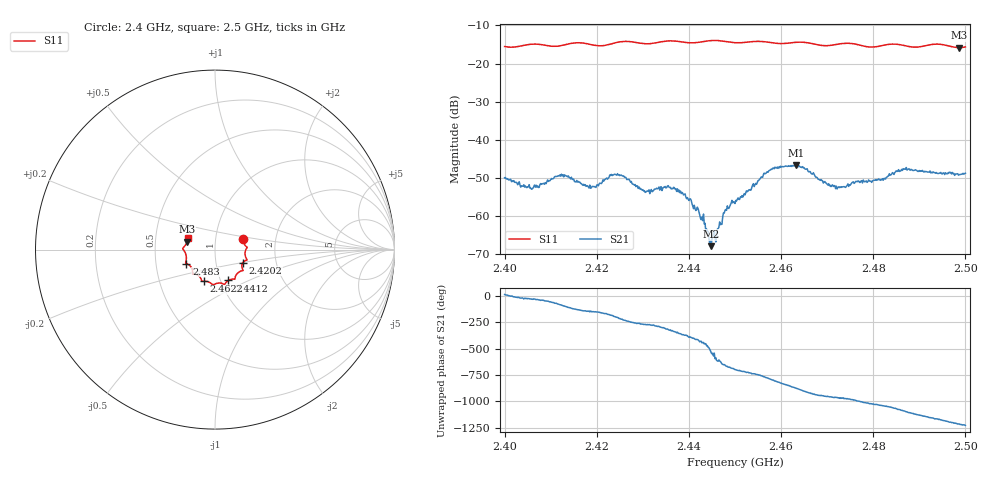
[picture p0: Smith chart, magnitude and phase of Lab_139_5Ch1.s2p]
# Hz S RI R 50
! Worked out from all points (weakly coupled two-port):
!   601 points, 2.4 GHz to 2.5 GHz, reference 50 ohm
!   highest |S21| = -46.67 dB at 2.4632 GHz (marker M1); lowest = -67.9 dB at 2.4448 GHz (marker M2)
!   lowest |S11| = -15.8 dB at 2.4987 GHz (marker M3), VSWR 1.39, Z = 36.4 + j3.31 ohm
!   |S11| at or under -10 dB: start of sweep to end of sweep
!   S12 and S22 are empty: the file has one direction only
!   S11 on the Smith chart (normalised r, x): 2.4 GHz: 1.36, +0.17; 2.4202 GHz: 1.35, -0.20; 2.4412 GHz: 1.09, -0.39; 2.4622 GHz: 0.83, -0.30; 2.483 GHz: 0.72, -0.12; 2.5 GHz: 0.73, +0.09
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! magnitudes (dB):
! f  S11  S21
! 2.4 GHz  -15.5  -50.0
! 2.4057 GHz  -14.9  -52.7
! 2.4122 GHz  -15.3  -49.6
! 2.4167 GHz  -14.6  -51.5
! 2.4202 GHz  -15.3  -51.8
! 2.4243 GHz  -14.5  -49.3
! 2.4302 GHz  -14.8  -53.4
! 2.4333 GHz  -14.4  -52.8
! 2.4373 GHz  -14.1  -53.6
! 2.4412 GHz  -14.5  -57.2
! 2.4448 GHz  -14.0  -67.9
! 2.45 GHz  -14.5  -56.7
! 2.4578 GHz  -14.5  -47.7
! 2.4622 GHz  -14.5  -46.8
! 2.4632 GHz  -14.4  -46.7
! 2.4667 GHz  -14.7  -49.0
! 2.4723 GHz  -14.9  -52.5
! 2.483 GHz  -15.0  -49.8
! 2.4833 GHz  -15.0  -49.5
! 2.487 GHz  -15.3  -47.8
! 2.4987 GHz  -15.8  -49.1
! 2.5 GHz  -15.6  -48.8
